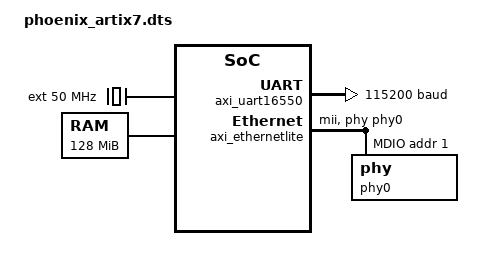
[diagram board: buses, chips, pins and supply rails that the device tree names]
/dts-v1/;

#include <dt-bindings/interrupt-controller/irq.h>

/ {
	#address-cells = <1>;
	#size-cells = <1>;
	compatible = "phoenix,artix7";

	//TODO: insufficient bootargs
	chosen {
		bootargs = "console=ttyS0,115200 console=tty0 debug lpj=500000";
		stdout-path = "serial0:115200";
	};

	aliases {
		serial0 = &axi_uart16550;
	};

	cpus {
		#address-cells = <1>;
		#size-cells = <0>;
		mips-hpt-frequency = <50000000>;
		cpu@0 {
			device_type = "cpu";
			compatible = "mips,4Kc";
			clocks	= <&ext>;
			reg = <0>;
		};
	};

	ext: ext {
		compatible = "fixed-clock";
		#clock-cells = <0>;
		clock-frequency = <50000000>;
	};

	/** this is the ddr3 ram */
	memory: memory@0 {
		device_type = "memory";
		reg = <0x0 0x8000000>;
	};
	cpuintc: interrupt-controller@0 {
		#address-cells = <0>;
		#interrupt-cells = <1>;
		interrupt-controller;
		compatible="mti,cpu-interrupt-controller";
	};
	
	soc {
		compatible = "simple-bus";
		#address-cells = <1>;
		#size-cells = <1>;
		#interrupt-cells = <1>;
		ranges;
	
		axi_uart16550: serial@bfd00000 {
			device_type = "serial";
			compatible = "ns16550";
			reg = <0xbfd00000 0x1000>;
	                reg-offset = <0>;
			reg-io-width = <4>;
	                reg-shift = <2>;
	                current-speed = <115200>;
	                clock-frequency = <50000000>;
	                interrupt-parent = <&cpuintc>;
			interrupts = <5>;
		};

		axi_ethernetlite: ethernet@bfe00000 {
			compatible = "xlnx,xps-ethernetlite-3.00.a";
			device_type = "network";
			interrupt_parent = <&cpuintc>;
			interrupt = <3>;
			local-mac-address = [e6 c7 26 bf e2 94];
			phy-handle = <&phy0>;
			phy-mode = "mii";
			max-speed = <100>;
			reg = <0xbfe00000 0x10000>;
			xlnx,duplex = <0x1>;
			xlnx,include-global-buffers = <0x1>;
			xlnx,include-internal-loopback = <0x0>;
			xlnx,include-mdio = <0x1>;
			xlnx,instance = "axi_ethernetlite_inst";
			xlnx,rx-ping-pong = <0x1>;
			xlnx,s-axi-id-width = <0x1>;
			xlnx,tx-ping-pong = <0x1>;
			xlnx,use-internal = <0x0>;
			mdio {
					#address-cells = <1>;
					#size-cells = <0>;
					phy0: phy@1 {
							device_type = "ethernet-phy";
							reg = <1>;
					} ;
			} ;
	};
	};

};
